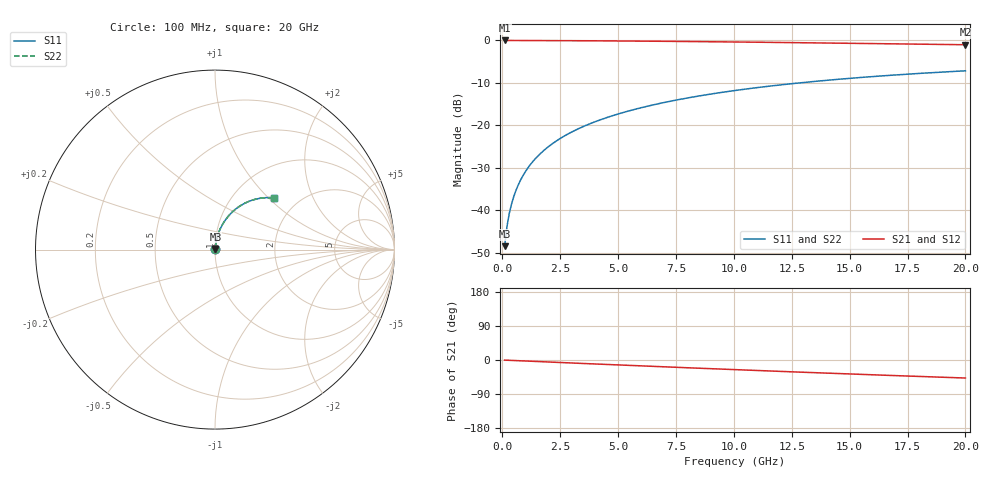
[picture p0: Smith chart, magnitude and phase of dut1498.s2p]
! Touchstone file exported from HFSS 2026.1.0
!  File:  C:/ffzhzh/LocalFiles/Ansys_Project_Files/temp_train_BSMRDL_1498_1783181667_43440.aedt
!  Generated:  12:15:52 AM Jul  5, 2026
!  Design:  BSMRDL
!  Project:  temp_train_BSMRDL_1498_1783181667_43440
! Variables:
!  h_bsmrdl = 5.67um
!  h_ox = 20um
!  h_rdl = 5um
!  h_sub = 80um
!  h_tmrdl = 5um
!  h_tsv = 80um
!  h_via = 3um
!  l_bsmrdl = 706.57um
!  l_sub = 1106.57um
!  l_tmrdl = 200um
!  m_sub = 200um
!  pitch = 53.01um
!  r_tsv = 6um
!  s_tmrdl = 10um
!  w_bsmrdl = 20.61um
!  w_sub = 500um
!  w_tmrdl = 12um
!  x_tsv_center1 = 206um
!  x_tsv_center2 = 933.18um
!  x_tsv_center3 = 1145.18um
!  x_tsv_center4 = 1872.36um
!  x_tsv_center5 = 2084.36um
!  x_tsv_center6 = 2811.54um
# GHz S MA R 50.000000
! Terminal data exported
! Port[1] = BSM_RDL1_1_T1
! Port[2] = BSM_RDL1_1_T2
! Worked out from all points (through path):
!   200 points, 100 MHz to 20 GHz, reference 50 ohm
!   highest |S21| = -0.02 dB at 100 MHz (marker M1); lowest = -1.0 dB at 20 GHz (marker M2)
!   group delay of S21, straight-line fit = 6.61 ps
!   lowest |S11| = -48.5 dB at 100 MHz (marker M3), VSWR 1.01, Z = 50.2 + j0.302 ohm
!   |S11| at or under -10 dB: start of sweep to 12.85 GHz
!   |S22| runs from -48.5 to -7.2 dB; largest |S21 - S12| = 2.7e-15
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0.1  0.00378 52.6  0.9977 -0.3  0.9977 -0.3  0.00378 52.6
! Gamma 0 0 0 0
! Port Impedance 50 0 50 0
0.2  0.006402 67.3  0.9976 -0.5  0.9976 -0.5  0.006402 67.3
0.3  0.009129 73.0  0.9974 -0.8  0.9974 -0.8  0.009129 73.0
0.4  0.01188 76.1  0.9973 -1.1  0.9973 -1.1  0.01188 76.1
0.5  0.01464 78.0  0.9972 -1.3  0.9972 -1.3  0.01464 78.0
0.7  0.02019 80.1  0.997 -1.9  0.997 -1.9  0.02019 80.1
0.8  0.02298 80.7  0.9969 -2.1  0.9969 -2.1  0.02298 80.7
1  0.02856 81.3  0.9966 -2.7  0.9966 -2.7  0.02856 81.3
1.2  0.03414 81.6  0.9963 -3.2  0.9963 -3.2  0.03414 81.6
1.4  0.03971 81.6  0.996 -3.7  0.996 -3.7  0.03971 81.6
1.7  0.04803 81.3  0.9954 -4.5  0.9954 -4.5  0.04803 81.4
2  0.05631 80.9  0.9947 -5.3  0.9947 -5.3  0.05631 80.9
2.7  0.07541 79.6  0.9928 -7.1  0.9928 -7.1  0.07541 79.6
3.5  0.09685 77.8  0.9903 -9.2  0.9903 -9.2  0.09685 77.8
4.2  0.1153 76.2  0.9877 -11.0  0.9877 -11.0  0.1153 76.2
5  0.1359 74.3  0.9845 -13.0  0.9845 -13.0  0.1359 74.3
6.8  0.181 70.1  0.9761 -17.5  0.9761 -17.5  0.181 70.1
8.3  0.217 66.6  0.9681 -21.2  0.9681 -21.2  0.217 66.6
10.1  0.2582 62.5  0.9573 -25.6  0.9573 -25.6  0.2582 62.5
13.4  0.3271 55.0  0.9353 -33.3  0.9353 -33.3  0.3271 55.0
16.7  0.387 47.9  0.9118 -40.6  0.9118 -40.6  0.3871 47.9
20  0.4379 41.1  0.8884 -47.6  0.8884 -47.6  0.438 41.1
